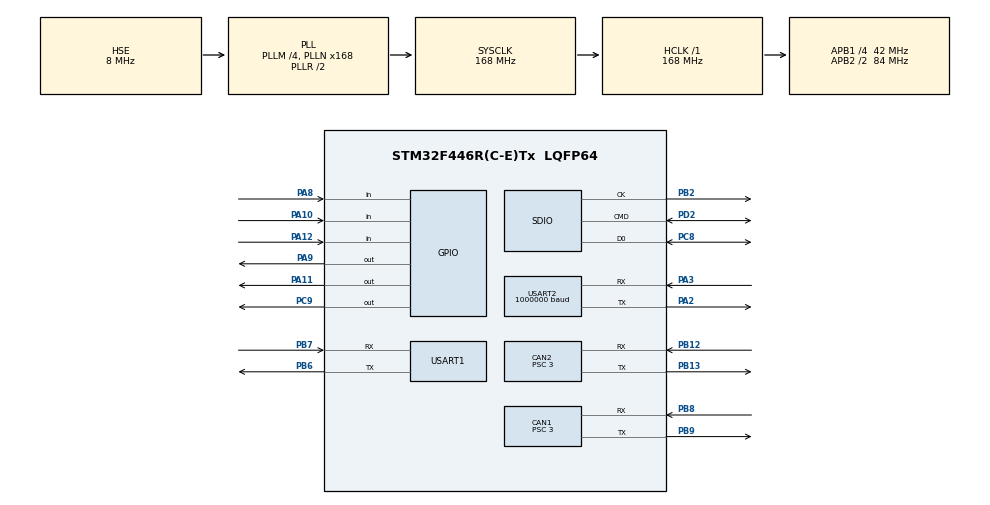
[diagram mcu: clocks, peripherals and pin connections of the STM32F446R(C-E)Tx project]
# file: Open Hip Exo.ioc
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CAN1.ABOM=ENABLE
CAN1.BS1=CAN_BS1_11TQ
CAN1.BS2=CAN_BS2_2TQ
CAN1.CalculateBaudRate=1000000
CAN1.CalculateTimeBit=1000
CAN1.CalculateTimeQuantum=71.42857142857143
CAN1.NART=DISABLE
CAN1.Prescaler=3
CAN2.ABOM=ENABLE
CAN2.BS1=CAN_BS1_11TQ
CAN2.BS2=CAN_BS2_2TQ
CAN2.CalculateBaudRate=1000000
CAN2.CalculateTimeBit=1000
CAN2.CalculateTimeQuantum=71.42857142857143
CAN2.NART=DISABLE
CAN2.Prescaler=3
Dma.Request0=SDIO_RX
Dma.Request1=SDIO_TX
Dma.Request2=USART2_RX
Dma.Request3=USART2_TX
Dma.Request4=USART1_RX
Dma.Request5=USART1_TX
Dma.SDIO_RX.0.Direction=DMA_PERIPH_TO_MEMORY
Dma.SDIO_RX.0.FIFOMode=DMA_FIFOMODE_ENABLE
Dma.SDIO_RX.0.FIFOThreshold=DMA_FIFO_THRESHOLD_FULL
Dma.SDIO_RX.0.Instance=DMA2_Stream6
Dma.SDIO_RX.0.MemBurst=DMA_MBURST_INC4
Dma.SDIO_RX.0.MemDataAlignment=DMA_MDATAALIGN_WORD
Dma.SDIO_RX.0.MemInc=DMA_MINC_ENABLE
Dma.SDIO_RX.0.Mode=DMA_PFCTRL
Dma.SDIO_RX.0.PeriphBurst=DMA_PBURST_INC4
Dma.SDIO_RX.0.PeriphDataAlignment=DMA_PDATAALIGN_WORD
Dma.SDIO_RX.0.PeriphInc=DMA_PINC_DISABLE
Dma.SDIO_RX.0.Priority=DMA_PRIORITY_LOW
Dma.SDIO_TX.1.Direction=DMA_MEMORY_TO_PERIPH
Dma.SDIO_TX.1.FIFOMode=DMA_FIFOMODE_ENABLE
Dma.SDIO_TX.1.FIFOThreshold=DMA_FIFO_THRESHOLD_FULL
Dma.SDIO_TX.1.Instance=DMA2_Stream3
Dma.SDIO_TX.1.MemBurst=DMA_MBURST_INC4
Dma.SDIO_TX.1.MemDataAlignment=DMA_MDATAALIGN_WORD
Dma.SDIO_TX.1.MemInc=DMA_MINC_ENABLE
Dma.SDIO_TX.1.Mode=DMA_PFCTRL
Dma.SDIO_TX.1.PeriphBurst=DMA_PBURST_INC4
Dma.SDIO_TX.1.PeriphDataAlignment=DMA_PDATAALIGN_WORD
Dma.SDIO_TX.1.PeriphInc=DMA_PINC_DISABLE
Dma.SDIO_TX.1.Priority=DMA_PRIORITY_LOW
Dma.USART1_RX.4.Direction=DMA_PERIPH_TO_MEMORY
Dma.USART1_RX.4.FIFOMode=DMA_FIFOMODE_DISABLE
Dma.USART1_RX.4.Instance=DMA2_Stream5
Dma.USART1_RX.4.MemDataAlignment=DMA_MDATAALIGN_BYTE
Dma.USART1_RX.4.MemInc=DMA_MINC_ENABLE
Dma.USART1_RX.4.Mode=DMA_CIRCULAR
Dma.USART1_RX.4.PeriphDataAlignment=DMA_PDATAALIGN_BYTE
Dma.USART1_RX.4.PeriphInc=DMA_PINC_DISABLE
Dma.USART1_RX.4.Priority=DMA_PRIORITY_LOW
Dma.USART1_TX.5.Direction=DMA_MEMORY_TO_PERIPH
Dma.USART1_TX.5.FIFOMode=DMA_FIFOMODE_DISABLE
Dma.USART1_TX.5.Instance=DMA2_Stream7
Dma.USART1_TX.5.MemDataAlignment=DMA_MDATAALIGN_BYTE
Dma.USART1_TX.5.MemInc=DMA_MINC_ENABLE
Dma.USART1_TX.5.Mode=DMA_NORMAL
Dma.USART1_TX.5.PeriphDataAlignment=DMA_PDATAALIGN_BYTE
Dma.USART1_TX.5.PeriphInc=DMA_PINC_DISABLE
Dma.USART1_TX.5.Priority=DMA_PRIORITY_LOW
Dma.USART2_RX.2.Direction=DMA_PERIPH_TO_MEMORY
Dma.USART2_RX.2.FIFOMode=DMA_FIFOMODE_DISABLE
Dma.USART2_RX.2.Instance=DMA1_Stream5
Dma.USART2_RX.2.MemDataAlignment=DMA_MDATAALIGN_BYTE
Dma.USART2_RX.2.MemInc=DMA_MINC_ENABLE
Dma.USART2_RX.2.Mode=DMA_NORMAL
Dma.USART2_RX.2.PeriphDataAlignment=DMA_PDATAALIGN_BYTE
Dma.USART2_RX.2.PeriphInc=DMA_PINC_DISABLE
Dma.USART2_RX.2.Priority=DMA_PRIORITY_LOW
Dma.USART2_TX.3.Direction=DMA_MEMORY_TO_PERIPH
Dma.USART2_TX.3.FIFOMode=DMA_FIFOMODE_DISABLE
Dma.USART2_TX.3.Instance=DMA1_Stream6
Dma.USART2_TX.3.MemDataAlignment=DMA_MDATAALIGN_BYTE
Dma.USART2_TX.3.MemInc=DMA_MINC_ENABLE
Dma.USART2_TX.3.Mode=DMA_NORMAL
Dma.USART2_TX.3.PeriphDataAlignment=DMA_PDATAALIGN_BYTE
Dma.USART2_TX.3.PeriphInc=DMA_PINC_DISABLE
Dma.USART2_TX.3.Priority=DMA_PRIORITY_LOW
FATFS.USE_DMA_CODE_SD=1
Mcu.Family=STM32F4
Mcu.Name=STM32F446R(C-E)Tx
Mcu.Package=LQFP64
NVIC.CAN1_RX0_IRQn=true\:0\:0\:false\:false\:true\:true\:true\:true
NVIC.CAN2_RX0_IRQn=true\:0\:0\:false\:false\:true\:true\:true\:true
NVIC.DMA1_Stream5_IRQn=true\:0\:0\:false\:false\:true\:true\:true\:true
NVIC.DMA1_Stream6_IRQn=true\:0\:0\:false\:false\:true\:true\:true\:true
NVIC.DMA2_Stream3_IRQn=true\:0\:0\:false\:false\:true\:true\:true\:true
NVIC.DMA2_Stream5_IRQn=true\:0\:0\:false\:false\:true\:true\:true\:true
NVIC.DMA2_Stream6_IRQn=true\:0\:0\:false\:false\:true\:true\:true\:true
NVIC.DMA2_Stream7_IRQn=true\:0\:0\:false\:false\:true\:true\:true\:true
NVIC.PriorityGroup=NVIC_PRIORITYGROUP_0
NVIC.SDIO_IRQn=true\:0\:0\:false\:false\:true\:true\:true\:true
NVIC.TIM4_IRQn=true\:0\:0\:false\:false\:true\:true\:true\:true
NVIC.USART1_IRQn=true\:0\:0\:false\:false\:true\:true\:true\:true
NVIC.USART2_IRQn=true\:0\:0\:false\:false\:true\:true\:true\:true
PA10.Signal=GPIO_Input
PA11.Signal=GPIO_Output
PA12.Signal=GPIO_Input
PA13.GPIO_Label=TMS
PA13.Mode=Serial_Wire
PA13.Signal=SYS_JTMS-SWDIO
PA14.GPIO_Label=TCK
PA14.Mode=Serial_Wire
PA14.Signal=SYS_JTCK-SWCLK
PA2.GPIO_ModeDefaultPP=GPIO_MODE_AF_PP
PA2.GPIO_PuPd=GPIO_NOPULL
PA2.GPIO_Speed=GPIO_SPEED_FREQ_VERY_HIGH
PA2.Mode=Asynchronous
PA2.Signal=USART2_TX
PA3.GPIO_ModeDefaultPP=GPIO_MODE_AF_PP
PA3.GPIO_PuPd=GPIO_NOPULL
PA3.GPIO_Speed=GPIO_SPEED_FREQ_VERY_HIGH
PA3.Mode=Asynchronous
PA3.Signal=USART2_RX
PA8.Signal=GPIO_Input
PA9.Signal=GPIO_Output
PB12.Mode=CAN_Activate
PB12.Signal=CAN2_RX
PB13.Mode=CAN_Activate
PB13.Signal=CAN2_TX
PB2.Mode=SD_1_bit
PB2.Signal=SDIO_CK
PB3.GPIO_Label=SWO
PB3.Signal=SYS_JTDO-SWO
PB6.Mode=Asynchronous
PB6.Signal=USART1_TX
PB7.Mode=Asynchronous
PB7.Signal=USART1_RX
PB8.Mode=CAN_Activate
PB8.Signal=CAN1_RX
PB9.Mode=CAN_Activate
PB9.Signal=CAN1_TX
PC8.Mode=SD_1_bit
PC8.Signal=SDIO_D0
PC9.Signal=GPIO_Output
PD2.Mode=SD_1_bit
PD2.Signal=SDIO_CMD
PH0-OSC_IN.Mode=HSE-External-Oscillator
PH0-OSC_IN.Signal=RCC_OSC_IN
PH1-OSC_OUT.Mode=HSE-External-Oscillator
PH1-OSC_OUT.Signal=RCC_OSC_OUT
ProjectManager.HeapSize=0x200
ProjectManager.StackSize=0x400
ProjectManager.TargetToolchain=STM32CubeIDE
RCC.48MHZClocksFreq_Value=84000000
RCC.AHBFreq_Value=168000000
RCC.APB1CLKDivider=RCC_HCLK_DIV4
RCC.APB1Freq_Value=42000000
RCC.APB1TimFreq_Value=84000000
RCC.APB2CLKDivider=RCC_HCLK_DIV2
RCC.APB2Freq_Value=84000000
RCC.APB2TimFreq_Value=168000000
RCC.CortexFreq_Value=168000000
RCC.FLatency-AdvancedSettings=FLASH_LATENCY_5
RCC.HCLKFreq_Value=168000000
RCC.HSE_VALUE=8000000
RCC.HSI_VALUE=16000000
RCC.PLLM=4
RCC.PLLN=168
RCC.PLLQ=7
RCC.PLLSourceVirtual=RCC_PLLSOURCE_HSE
RCC.SYSCLKFreq_VALUE=168000000
RCC.SYSCLKSource=RCC_SYSCLKSOURCE_PLLRCLK
RCC.USBFreq_Value=48000000
RCC.VCOOutputFreq_Value=336000000
TIM4.AutoReloadPreload=TIM_AUTORELOAD_PRELOAD_ENABLE
TIM4.Period=41999
TIM4.Prescaler=1
USART1.VirtualMode=VM_ASYNC
USART2.BaudRate=1000000
USART2.VirtualMode=VM_ASYNC
VP_FATFS_VS_SDIO.Mode=SDIO
VP_TIM4_VS_ClockSourceINT.Mode=Internal
board=NUCLEO-F446RE

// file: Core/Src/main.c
/* USER CODE BEGIN Header */
/**
 ******************************************************************************
 * @file           : main.c
 * @brief          : Main program body
 ******************************************************************************
 * @attention
 *
 * Copyright (c) 2023 STMicroelectronics.
 * All rights reserved.
 *
 * This software is licensed under terms that can be found in the LICENSE file
 * in the root directory of this software component.
 * If no LICENSE file comes with this software, it is provided AS-IS.
 *
 ******************************************************************************
 */
/* USER CODE END Header */
#include "main.h"
#include "can.h"
#include "dma.h"
#include "fatfs.h"
#include "sdio.h"
#include "tim.h"
#include "usart.h"
#include "gpio.h"

/* USER CODE BEGIN Includes */
#include <math.h>
#include <string.h>
#include <stdio.h>
#include <stdlib.h>
#include <stdbool.h>

#include "globals.h"
#include "servo_sending.h"
#include "servo_receiving.h"
#include "sd_card.h"
#include "torque_profile.h"
#include "torque_calculation.h"
#include "can_rx_callback.h"
#include "control_logic.h"
#include "motor_control.h"

/* USER CODE END Includes */

/* USER CODE BEGIN PV */

// Tx Data (MCU -> SD Card; SDIO)
TxData dataToSave = {0};
uint8_t paddedTxData[sizeof(TxData) + 4];

// Rx Data (PC -> MCU; BLE)
uint8_t rxDataBLE[RX_BYTES];

/* Torque Profile -----------------------------------------------*/
TorqueProfile profile;

/* Clock and Timer -----------------------------------------------*/
float timeSec = 0.0f;
uint16_t initCnt = 0;

const float initializationTime = 2.0f;
const float calibrationTime = 3.0f;

const uint16_t systemFrequency = 1000; // [Hz]
const uint16_t imuFrequency = 100;	   // [Hz]
const uint16_t motorFrequency = 500;   // [Hz]

/* Sensor Data -----------------------------------------------*/
float loadRight = 0;
float loadLeft = 0;

float voltageSumLeft = 0.0f;
float voltageSumRight = 0.0f;

float imuAngleSumLeft = 0.0f;
float imuAngleSumRight = 0.0f;

float voltageMeanLeft = 0.0f;
float voltageMeanRight = 0.0f;

float imuMeanLeft = 0.0f;
float imuMeanRight = 0.0f;

/* Current Control - AK10-9 -----------------------------------------------*/
float G = 9.0f;
float k_t = 0.12f;
float k_p = 2.0f;
float k_d = 1.0f;

/* Control State Machine -----------------------------------------------*/
uint8_t controlMode = 0; // 0: mode off, 1: mode on;

bool walkingFlagLeft = false;
bool walkingFlagRight = false;

bool eStop = false;
bool motorConnected = true;

const float motorCurLimit = 60.0f; // [A]
const float torqueUpperLimit = 27.0f;
const float torqueLowerLimit = -48.0f;
const float temperatureLimit = 55.0f;

bool newBLEDataFlag = false;

/* USER CODE END PV */

void SystemClock_Config(void);

/* USER CODE BEGIN 0 */

// Rx Data (PC -> MCU; BLE)
void HAL_UART_RxCpltCallback(UART_HandleTypeDef *huart)
{
	if (huart->Instance == USART1)
	{
		newBLEDataFlag = true;
	}
}

void process_ble_data(void)
{
    // frame check
    if (rxDataBLE[0] != 0xAA || rxDataBLE[1] != 0xAA) return;
    if (rxDataBLE[RX_BYTES-2] != 0xBB || rxDataBLE[RX_BYTES-1] != 0xBB) return;

    float params[6];
    memcpy(params, &rxDataBLE[2], sizeof(params));

    torque_profile_set_target(params);
    torque_profile_update_trigger(&profile, timeSec);
}

// Rx Data (Motor -> MCU; CAN)
void HAL_CAN_RxFifo0MsgPendingCallback(CAN_HandleTypeDef *hcan)
{
	can_rx_callback(hcan, &dataToSave.rightLeg.imu, &dataToSave.leftLeg.imu,
					&dataToSave.rightLeg.motor, &dataToSave.leftLeg.motor);
}

void HAL_TIM_PeriodElapsedCallback(TIM_HandleTypeDef *htim)
{
	if (htim == &htim4)
	{ // 1 kHz
		dataToSave.timeMsec += 1.0f;
		timeSec = dataToSave.timeMsec / 1000;

		loadLeft = dataToSave.leftLeg.imu.load;
		loadRight = dataToSave.rightLeg.imu.load;

		get_torques(loadLeft, loadRight,
					voltageMeanLeft, voltageMeanRight,
					&dataToSave.leftLeg.torqueMeasured, &dataToSave.rightLeg.torqueMeasured);

		if (timeSec > initializationTime && timeSec <= initializationTime + calibrationTime)
		{ // After initialization, Start Calibration

			if ((int)dataToSave.timeMsec % (systemFrequency / imuFrequency) == 0)
			{ // 100 Hz
				initCnt++;

				imuAngleSumLeft += dataToSave.leftLeg.imu.roll;
				imuAngleSumRight += dataToSave.rightLeg.imu.roll;

				voltageSumLeft += loadLeft * 3.3f / 4095;
				voltageSumRight += loadRight * 3.3f / 4095;
			}

			if (initCnt == imuFrequency * (int)calibrationTime)
			{
				imuMeanLeft = imuAngleSumLeft / initCnt;
				imuMeanRight = imuAngleSumRight / initCnt;

				voltageMeanLeft = voltageSumLeft / initCnt;
				voltageMeanRight = voltageSumRight / initCnt;

				initCnt = 0;
				imuAngleSumLeft = 0.0f;
				imuAngleSumRight = 0.0f;
				voltageSumLeft = 0.0f;
				voltageSumRight = 0.0f;
			}
		}

		if (timeSec > initializationTime + calibrationTime)
		{ // After Calibration, Start Control
			if ((int)dataToSave.timeMsec % (systemFrequency / motorFrequency) == 0)
			{ // 500 Hz

				if (fabsf(dataToSave.leftLeg.motor.Current) > motorCurLimit || fabsf(dataToSave.rightLeg.motor.Current) > motorCurLimit || dataToSave.leftLeg.torqueMeasured <= torqueLowerLimit || dataToSave.leftLeg.torqueMeasured >= torqueUpperLimit || dataToSave.rightLeg.torqueMeasured <= torqueLowerLimit || dataToSave.rightLeg.torqueMeasured >= torqueUpperLimit || dataToSave.leftLeg.motor.Temp >= temperatureLimit || dataToSave.rightLeg.motor.Temp >= temperatureLimit)
				{
					eStop = true;

					comm_can_set_current(motor_ids[0], 0);
					comm_can_set_current(motor_ids[1], 0);
				}

				if (!eStop && motorConnected)
				{
					if ((controlMode == 1) && ((walkingFlagLeft && walkingFlagRight)))
					{

						motor_current_control(motor_ids[1],
											  dataToSave.leftLeg.torqueDesired,
											  dataToSave.leftLeg.torqueMeasured,
											  dataToSave.leftLeg.motor.Speed,
											  true);

						motor_current_control(motor_ids[0],
											  dataToSave.rightLeg.torqueDesired,
											  dataToSave.rightLeg.torqueMeasured,
											  dataToSave.rightLeg.motor.Speed,
											  false);
					}
					else
					{
						comm_can_set_current(motor_ids[0], 0);
						comm_can_set_current(motor_ids[1], 0);
					}
				}
			}

			if ((int)dataToSave.timeMsec % (systemFrequency / imuFrequency) == 0)
			{ // 100 Hz

				if (newBLEDataFlag)
				{
					newBLEDataFlag = false;
					process_ble_data();
				}

				torque_profile_update_continuous(&profile, timeSec);

				main_controller(timeSec,
								imuMeanLeft, imuMeanRight,
								&dataToSave.leftLeg.imu, &dataToSave.rightLeg.imu,
								&dataToSave.leftLeg.gaitCycleNorm, &dataToSave.rightLeg.gaitCycleNorm,
								&walkingFlagLeft, &walkingFlagRight,
								&profile,
								&dataToSave.leftLeg.torqueDesired, &dataToSave.rightLeg.torqueDesired);

				// Data Save
				memcpy(&paddedTxData[2], &dataToSave, sizeof(TxData));

				// Transmit Data to SD Card via SDIO (MCU)
				if (logState == 2)
				{
					write_data_to_sd((uint8_t *)&paddedTxData);
				}
			}
		}
	}
}

/* USER CODE END 0 */

int main(void)
{

  /* MCU Configuration--------------------------------------------------------*/

  /* Reset of all peripherals, Initializes the Flash interface and the Systick. */
  HAL_Init();

  /* Configure the system clock */
  SystemClock_Config();

  /* Initialize all configured peripherals */
  MX_GPIO_Init();
  MX_DMA_Init();
  MX_USART2_UART_Init();
  MX_SDIO_SD_Init();
  MX_TIM4_Init();
  MX_FATFS_Init();
  MX_CAN1_Init();
  MX_USART1_UART_Init();
  MX_CAN2_Init();
  /* USER CODE BEGIN 2 */

	HAL_CAN_Start(&hcan1);
	HAL_CAN_ActivateNotification(&hcan1, CAN_IT_RX_FIFO0_MSG_PENDING);

	HAL_CAN_Start(&hcan2);
	HAL_CAN_ActivateNotification(&hcan2, CAN_IT_RX_FIFO0_MSG_PENDING);

	HAL_UART_Receive_DMA(&huart1, rxDataBLE, RX_BYTES);

	HAL_TIM_Base_Start_IT(&htim4);

	if (motorConnected)
	{
		for (int i = 0; i < MOTOR_COUNT; i++)
		{
			enter_motor_mode_servo(motor_ids[i]);
			comm_can_set_origin(motor_ids[i], 0);
		}
	}

	torque_profile_init(&profile);

	paddedTxData[0] = 0xAA;
	paddedTxData[1] = 0xAA;
	paddedTxData[sizeof(paddedTxData) - 2] = 0xBB;
	paddedTxData[sizeof(paddedTxData) - 1] = 0xBB;

  /* USER CODE END 2 */

  /* Infinite loop */
  /* USER CODE BEGIN WHILE */
	while (1)
	{
		sd_card_task();
		update_control_mode(&controlMode);
	}
    /* USER CODE END WHILE */

}

void SystemClock_Config(void)
{
  RCC_OscInitTypeDef RCC_OscInitStruct = {0};
  RCC_ClkInitTypeDef RCC_ClkInitStruct = {0};

  /** Configure the main internal regulator output voltage
  */
  __HAL_RCC_PWR_CLK_ENABLE();
  __HAL_PWR_VOLTAGESCALING_CONFIG(PWR_REGULATOR_VOLTAGE_SCALE1);

  /** Initializes the RCC Oscillators according to the specified parameters
  * in the RCC_OscInitTypeDef structure.
  */
  RCC_OscInitStruct.OscillatorType = RCC_OSCILLATORTYPE_HSE;
  RCC_OscInitStruct.HSEState = RCC_HSE_ON;
  RCC_OscInitStruct.PLL.PLLState = RCC_PLL_ON;
  RCC_OscInitStruct.PLL.PLLSource = RCC_PLLSOURCE_HSE;
  RCC_OscInitStruct.PLL.PLLM = 4;
  RCC_OscInitStruct.PLL.PLLN = 168;
  RCC_OscInitStruct.PLL.PLLP = RCC_PLLP_DIV2;
  RCC_OscInitStruct.PLL.PLLQ = 7;
  RCC_OscInitStruct.PLL.PLLR = 2;
  if (HAL_RCC_OscConfig(&RCC_OscInitStruct) != HAL_OK)
  {
    Error_Handler();
  }

  /** Initializes the CPU, AHB and APB buses clocks
  */
  RCC_ClkInitStruct.ClockType = RCC_CLOCKTYPE_HCLK|RCC_CLOCKTYPE_SYSCLK
                              |RCC_CLOCKTYPE_PCLK1|RCC_CLOCKTYPE_PCLK2;
  RCC_ClkInitStruct.SYSCLKSource = RCC_SYSCLKSOURCE_PLLRCLK;
  RCC_ClkInitStruct.AHBCLKDivider = RCC_SYSCLK_DIV1;
  RCC_ClkInitStruct.APB1CLKDivider = RCC_HCLK_DIV4;
  RCC_ClkInitStruct.APB2CLKDivider = RCC_HCLK_DIV2;

  if (HAL_RCC_ClockConfig(&RCC_ClkInitStruct, FLASH_LATENCY_5) != HAL_OK)
  {
    Error_Handler();
  }
}

void Error_Handler(void)
{
	__disable_irq();
	while (1)
	{
	}
}
